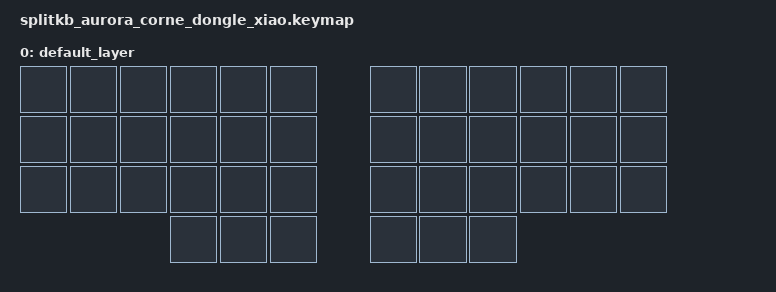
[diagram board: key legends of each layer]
/*
 * Copyright (c) 2024 The ZMK Contributors
 * SPDX-License-Identifier: MIT
 *
 * Dongle keymap - minimal keymap for wireless central receiver
 * NOTE: Do NOT add &led_strip or &nice_view_spi refs here - dongle doesn't have these
 */

#include <behaviors.dtsi>
#include <dt-bindings/zmk/keys.h>

/ {
	keymap {
		compatible = "zmk,keymap";

		/* Dongle has no physical keys - empty keymap required for build */
		default_layer {
			bindings = <
				&none &none &none &none &none &none   &none &none &none &none &none &none
				&none &none &none &none &none &none   &none &none &none &none &none &none
				&none &none &none &none &none &none   &none &none &none &none &none &none
				                  &none &none &none   &none &none &none
			>;
		};
	};
};
